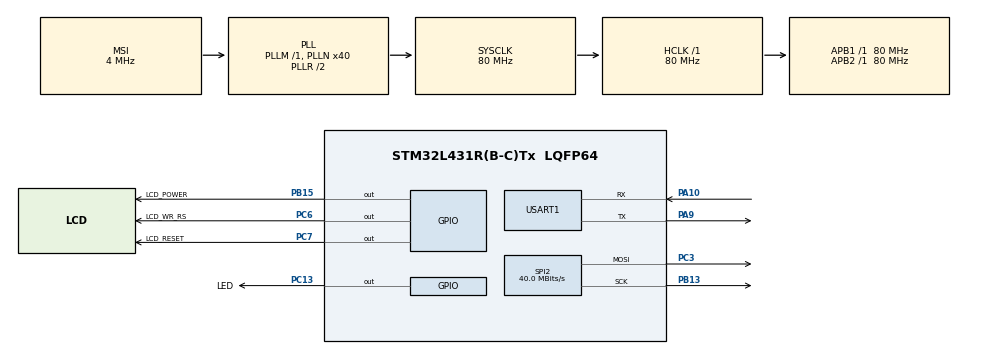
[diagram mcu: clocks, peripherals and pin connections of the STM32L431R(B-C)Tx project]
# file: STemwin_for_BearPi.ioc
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Mcu.Family=STM32L4
Mcu.Name=STM32L431R(B-C)Tx
Mcu.Package=LQFP64
NVIC.PriorityGroup=NVIC_PRIORITYGROUP_4
PA10.Mode=Asynchronous
PA10.Signal=USART1_RX
PA9.Mode=Asynchronous
PA9.Signal=USART1_TX
PB13.Mode=TX_Only_Simplex_Unidirect_Master
PB13.Signal=SPI2_SCK
PB15.GPIO_Label=LCD_POWER
PB15.Signal=GPIO_Output
PC13.GPIO_Label=LED
PC13.Signal=GPIO_Output
PC3.Mode=TX_Only_Simplex_Unidirect_Master
PC3.Signal=SPI2_MOSI
PC6.GPIO_Label=LCD_WR_RS
PC6.Signal=GPIO_Output
PC7.GPIO_Label=LCD_RESET
PC7.Signal=GPIO_Output
ProjectManager.HeapSize=0x200
ProjectManager.StackSize=0x400
ProjectManager.TargetToolchain=MDK-ARM V5
RCC.AHBFreq_Value=80000000
RCC.APB1Freq_Value=80000000
RCC.APB1TimFreq_Value=80000000
RCC.APB2Freq_Value=80000000
RCC.APB2TimFreq_Value=80000000
RCC.CortexFreq_Value=80000000
RCC.HCLKFreq_Value=80000000
RCC.HSE_VALUE=8000000
RCC.HSI48_VALUE=48000000
RCC.HSI_VALUE=16000000
RCC.LSE_VALUE=32768
RCC.MSI_VALUE=4000000
RCC.PLLN=40
RCC.SYSCLKFreq_VALUE=80000000
RCC.SYSCLKSource=RCC_SYSCLKSOURCE_PLLCLK
RCC.VCOOutputFreq_Value=160000000
SPI2.CLKPhase=SPI_PHASE_2EDGE
SPI2.CLKPolarity=SPI_POLARITY_HIGH
SPI2.CalculateBaudRate=40.0 MBits/s
SPI2.DataSize=SPI_DATASIZE_8BIT
SPI2.Direction=SPI_DIRECTION_2LINES
SPI2.Mode=SPI_MODE_MASTER
SPI2.VirtualType=VM_MASTER
USART1.VirtualMode-Asynchronous=VM_ASYNC
board=custom

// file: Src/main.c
/**
  ******************************************************************************
  * @file           : main.c
  * @brief          : Main program body
  ******************************************************************************
  ** This notice applies to any and all portions of this file
  * that are not between comment pairs USER CODE BEGIN and
  * USER CODE END. Other portions of this file, whether
  * inserted by the user or by software development tools
  * are owned by their respective copyright owners.
  *
  * COPYRIGHT(c) 2019 STMicroelectronics
  *
  * Redistribution and use in source and binary forms, with or without modification,
  * are permitted provided that the following conditions are met:
  *   1. Redistributions of source code must retain the above copyright notice,
  *      this list of conditions and the following disclaimer.
  *   2. Redistributions in binary form must reproduce the above copyright notice,
  *      this list of conditions and the following disclaimer in the documentation
  *      and/or other materials provided with the distribution.
  *   3. Neither the name of STMicroelectronics nor the names of its contributors
  *      may be used to endorse or promote products derived from this software
  *      without specific prior written permission.
  *
  * THIS SOFTWARE IS PROVIDED BY THE COPYRIGHT HOLDERS AND CONTRIBUTORS "AS IS"
  * AND ANY EXPRESS OR IMPLIED WARRANTIES, INCLUDING, BUT NOT LIMITED TO, THE
  * IMPLIED WARRANTIES OF MERCHANTABILITY AND FITNESS FOR A PARTICULAR PURPOSE ARE
  * DISCLAIMED. IN NO EVENT SHALL THE COPYRIGHT HOLDER OR CONTRIBUTORS BE LIABLE
  * FOR ANY DIRECT, INDIRECT, INCIDENTAL, SPECIAL, EXEMPLARY, OR CONSEQUENTIAL
  * DAMAGES (INCLUDING, BUT NOT LIMITED TO, PROCUREMENT OF SUBSTITUTE GOODS OR
  * SERVICES; LOSS OF USE, DATA, OR PROFITS; OR BUSINESS INTERRUPTION) HOWEVER
  * CAUSED AND ON ANY THEORY OF LIABILITY, WHETHER IN CONTRACT, STRICT LIABILITY,
  * OR TORT (INCLUDING NEGLIGENCE OR OTHERWISE) ARISING IN ANY WAY OUT OF THE USE
  * OF THIS SOFTWARE, EVEN IF ADVISED OF THE POSSIBILITY OF SUCH DAMAGE.
  *
  ******************************************************************************
  */
#include "main.h"
#include "stm32l4xx_hal.h"
#include "spi.h"
#include "usart.h"
#include "gpio.h"

/* USER CODE BEGIN Includes */
#include "LCD.h"
#include "stdio.h"
#include "GUI.h"

#include "DIALOG.h"
/* USER CODE END Includes */

/* USER CODE BEGIN PV */
/* Private variables ---------------------------------------------------------*/

/* USER CODE END PV */

void SystemClock_Config(void);

/* USER CODE BEGIN PFP */
/* Private function prototypes -----------------------------------------------*/

/* USER CODE END PFP */

/* USER CODE BEGIN 0 */
/*********************************************************************
*
*       Defines
*
**********************************************************************
*/
#define ID_WINDOW_0  (GUI_ID_USER + 0x00)
#define ID_LISTVIEW_0  (GUI_ID_USER + 0x01)
#define ID_BUTTON_0  (GUI_ID_USER + 0x07)
#define ID_BUTTON_1  (GUI_ID_USER + 0x08)

// USER START (Optionally insert additional defines)
// USER END

/*********************************************************************
*
*       Static data
*
**********************************************************************
*/

// USER START (Optionally insert additional static data)
// USER END

/*********************************************************************
*
*       _aDialogCreate
*/
static const GUI_WIDGET_CREATE_INFO _aDialogCreate[] = {
  { WINDOW_CreateIndirect, "Window", ID_WINDOW_0, 0, 0, 240, 240, 0, 0x0, 0 },
  { LISTVIEW_CreateIndirect, "Listview", ID_LISTVIEW_0, 0, 0, 240, 240, 0, 0x0, 0 },
  { BUTTON_CreateIndirect, "enter", ID_BUTTON_0, 23, 114, 80, 20, 0, 0x0, 0 },
  { BUTTON_CreateIndirect, "quit", ID_BUTTON_1, 134, 115, 80, 20, 0, 0x0, 0 },
  // USER START (Optionally insert additional widgets)
  // USER END
};

/*********************************************************************
*
*       Static code
*
**********************************************************************
*/

// USER START (Optionally insert additional static code)
// USER END

/*********************************************************************
*
*       _cbDialog
*/
static void _cbDialog(WM_MESSAGE * pMsg) {
  WM_HWIN hItem;
  int     NCode;
  int     Id;
  // USER START (Optionally insert additional variables)
  // USER END

  switch (pMsg->MsgId) {
  case WM_INIT_DIALOG:
    //
    // Initialization of 'Listview'
    //
    hItem = WM_GetDialogItem(pMsg->hWin, ID_LISTVIEW_0);
    LISTVIEW_AddColumn(hItem, 30, "Col 0", GUI_TA_HCENTER | GUI_TA_VCENTER);
    LISTVIEW_AddColumn(hItem, 30, "Col 1", GUI_TA_HCENTER | GUI_TA_VCENTER);
    LISTVIEW_AddColumn(hItem, 30, "Col 2", GUI_TA_HCENTER | GUI_TA_VCENTER);
    LISTVIEW_AddRow(hItem, NULL);
    LISTVIEW_SetGridVis(hItem, 1);
    // USER START (Optionally insert additional code for further widget initialization)
    // USER END
    break;
  case WM_NOTIFY_PARENT:
    Id    = WM_GetId(pMsg->hWinSrc);
    NCode = pMsg->Data.v;
    switch(Id) {
    case ID_LISTVIEW_0: // Notifications sent by 'Listview'
      switch(NCode) {
      case WM_NOTIFICATION_CLICKED:
        // USER START (Optionally insert code for reacting on notification message)
        // USER END
        break;
      case WM_NOTIFICATION_RELEASED:
        // USER START (Optionally insert code for reacting on notification message)
        // USER END
        break;
      case WM_NOTIFICATION_SEL_CHANGED:
        // USER START (Optionally insert code for reacting on notification message)
        // USER END
        break;
      // USER START (Optionally insert additional code for further notification handling)
      // USER END
      }
      break;
    case ID_BUTTON_0: // Notifications sent by 'enter'
      switch(NCode) {
      case WM_NOTIFICATION_CLICKED:
        // USER START (Optionally insert code for reacting on notification message)
        // USER END
        break;
      case WM_NOTIFICATION_RELEASED:
        // USER START (Optionally insert code for reacting on notification message)
        // USER END
        break;
      // USER START (Optionally insert additional code for further notification handling)
      // USER END
      }
      break;
    case ID_BUTTON_1: // Notifications sent by 'quit'
      switch(NCode) {
      case WM_NOTIFICATION_CLICKED:
        // USER START (Optionally insert code for reacting on notification message)
        // USER END
        break;
      case WM_NOTIFICATION_RELEASED:
        // USER START (Optionally insert code for reacting on notification message)
        // USER END
        break;
      // USER START (Optionally insert additional code for further notification handling)
      // USER END
      }
      break;
    // USER START (Optionally insert additional code for further Ids)
    // USER END
    }
    break;
  // USER START (Optionally insert additional message handling)
  // USER END
  default:
    WM_DefaultProc(pMsg);
    break;
  }
}

/*********************************************************************
*
*       Public code
*
**********************************************************************
*/
/*********************************************************************
*
*       CreateWindow
*/
WM_HWIN CreateWindow(void);
WM_HWIN CreateWindow(void) {
  WM_HWIN hWin;

  hWin = GUI_CreateDialogBox(_aDialogCreate, GUI_COUNTOF(_aDialogCreate), _cbDialog, WM_HBKWIN, 0, 0);
  return hWin;
}

// USER START (Optionally insert additional public code)
// USER END

/*************************** End of file ****************************/
/* USER CODE END 0 */

int main(void)
{

  /* MCU Configuration----------------------------------------------------------*/

  /* Reset of all peripherals, Initializes the Flash interface and the Systick. */
  HAL_Init();

  /* Configure the system clock */
  SystemClock_Config();

  /* Initialize all configured peripherals */
  MX_GPIO_Init();
  MX_SPI2_Init();
  MX_USART1_UART_Init();
  /* USER CODE BEGIN 2 */
	//RCC_AHB1PeriphClockCmd(RCC_AHB1Periph_CRC, ENABLE);
	__HAL_RCC_CRC_CLK_ENABLE();
	GUI_Init();
	//GUI_SetBkColor(GUI_BLUE);
  //GUI_SetColor(GUI_YELLOW);
	//GUI_Clear();
	//GUI_SetFont(&GUI_Font24_ASCII);
	//GUI_DispStringAt("Hello World!",0,0);
	CreateWindow();
  /* USER CODE END 2 */

  /* Infinite loop */
  while (1)
  {

  /* USER CODE BEGIN 3 */
		GUI_Delay(50);
  }
  /* USER CODE END 3 */

}

void SystemClock_Config(void)
{

  RCC_OscInitTypeDef RCC_OscInitStruct;
  RCC_ClkInitTypeDef RCC_ClkInitStruct;
  RCC_PeriphCLKInitTypeDef PeriphClkInit;

    /**Initializes the CPU, AHB and APB busses clocks
    */
  RCC_OscInitStruct.OscillatorType = RCC_OSCILLATORTYPE_MSI;
  RCC_OscInitStruct.MSIState = RCC_MSI_ON;
  RCC_OscInitStruct.MSICalibrationValue = 0;
  RCC_OscInitStruct.MSIClockRange = RCC_MSIRANGE_6;
  RCC_OscInitStruct.PLL.PLLState = RCC_PLL_ON;
  RCC_OscInitStruct.PLL.PLLSource = RCC_PLLSOURCE_MSI;
  RCC_OscInitStruct.PLL.PLLM = 1;
  RCC_OscInitStruct.PLL.PLLN = 40;
  RCC_OscInitStruct.PLL.PLLP = RCC_PLLP_DIV7;
  RCC_OscInitStruct.PLL.PLLQ = RCC_PLLQ_DIV2;
  RCC_OscInitStruct.PLL.PLLR = RCC_PLLR_DIV2;
  if (HAL_RCC_OscConfig(&RCC_OscInitStruct) != HAL_OK)
  {
    _Error_Handler(__FILE__, __LINE__);
  }

    /**Initializes the CPU, AHB and APB busses clocks
    */
  RCC_ClkInitStruct.ClockType = RCC_CLOCKTYPE_HCLK|RCC_CLOCKTYPE_SYSCLK
                              |RCC_CLOCKTYPE_PCLK1|RCC_CLOCKTYPE_PCLK2;
  RCC_ClkInitStruct.SYSCLKSource = RCC_SYSCLKSOURCE_PLLCLK;
  RCC_ClkInitStruct.AHBCLKDivider = RCC_SYSCLK_DIV1;
  RCC_ClkInitStruct.APB1CLKDivider = RCC_HCLK_DIV1;
  RCC_ClkInitStruct.APB2CLKDivider = RCC_HCLK_DIV1;

  if (HAL_RCC_ClockConfig(&RCC_ClkInitStruct, FLASH_LATENCY_4) != HAL_OK)
  {
    _Error_Handler(__FILE__, __LINE__);
  }

  PeriphClkInit.PeriphClockSelection = RCC_PERIPHCLK_USART1;
  PeriphClkInit.Usart1ClockSelection = RCC_USART1CLKSOURCE_PCLK2;
  if (HAL_RCCEx_PeriphCLKConfig(&PeriphClkInit) != HAL_OK)
  {
    _Error_Handler(__FILE__, __LINE__);
  }

    /**Configure the main internal regulator output voltage
    */
  if (HAL_PWREx_ControlVoltageScaling(PWR_REGULATOR_VOLTAGE_SCALE1) != HAL_OK)
  {
    _Error_Handler(__FILE__, __LINE__);
  }

    /**Configure the Systick interrupt time
    */
  HAL_SYSTICK_Config(HAL_RCC_GetHCLKFreq()/1000);

    /**Configure the Systick
    */
  HAL_SYSTICK_CLKSourceConfig(SYSTICK_CLKSOURCE_HCLK);

  /* SysTick_IRQn interrupt configuration */
  HAL_NVIC_SetPriority(SysTick_IRQn, 0, 0);
}

void _Error_Handler(char *file, int line)
{
  while(1)
  {
  }
}

/************************ (C) COPYRIGHT STMicroelectronics *****END OF FILE****/
